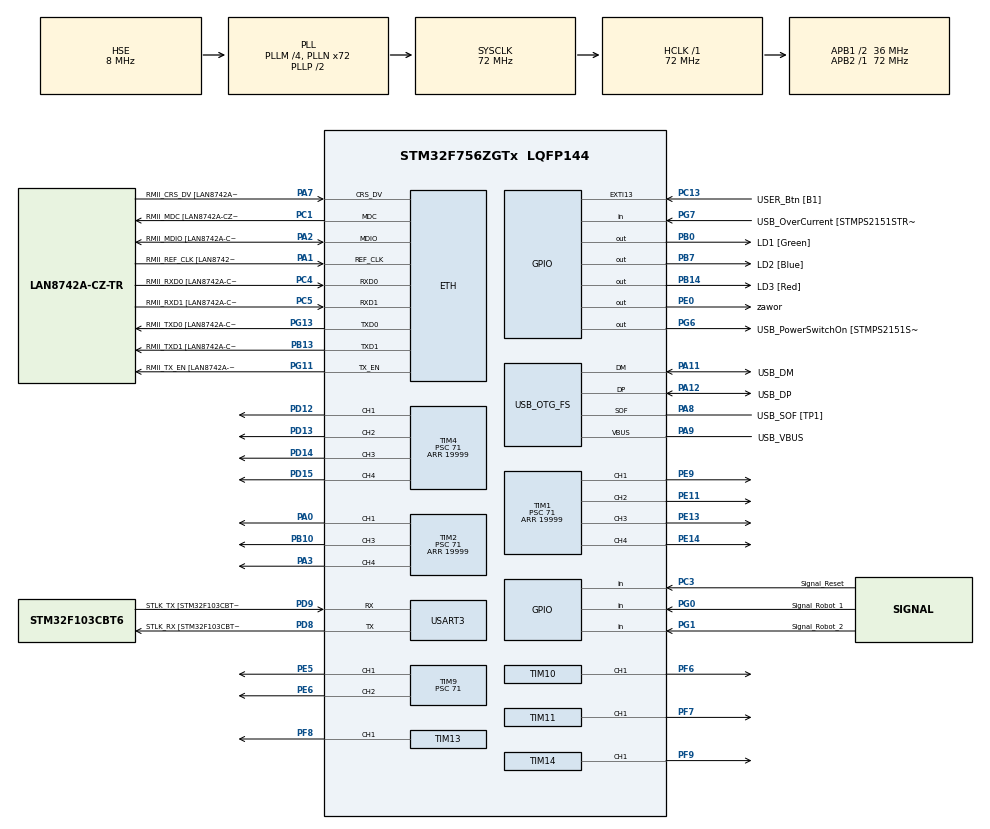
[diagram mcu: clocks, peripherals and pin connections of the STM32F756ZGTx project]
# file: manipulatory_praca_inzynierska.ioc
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ETH.MediaInterface=HAL_ETH_RMII_MODE
ETH.PHY_Name=LAN8742A_PHY_ADDRESS
ETH.PHY_Value=0
ETH.PhyAddress=0
FREERTOS.Tasks01=task_1,24,128,start_task_1,Default,NULL,Dynamic,NULL,NULL;task_2,16,128,start_task_2,Default,NULL,Dynamic,NULL,NULL
FREERTOS.configUSE_NEWLIB_REENTRANT=0
Mcu.Family=STM32F7
Mcu.Name=STM32F756ZGTx
Mcu.Package=LQFP144
NVIC.PriorityGroup=NVIC_PRIORITYGROUP_4
NVIC.TIM6_DAC_IRQn=true\:15\:0\:false\:false\:true\:false\:false\:true\:true
NVIC.TimeBase=TIM6_DAC_IRQn
NVIC.TimeBaseIP=TIM6
PA0/WKUP.Signal=S_TIM2_CH1_ETR
PA1.GPIO_Label=RMII_REF_CLK [LAN8742A-CZ-TR_REFCLK0]
PA1.Mode=RMII
PA1.Signal=ETH_REF_CLK
PA10.GPIO_Label=USB_ID
PA10.Signal=USB_OTG_FS_ID
PA11.GPIO_Label=USB_DM
PA11.Mode=Device_Only
PA11.Signal=USB_OTG_FS_DM
PA12.GPIO_Label=USB_DP
PA12.Mode=Device_Only
PA12.Signal=USB_OTG_FS_DP
PA13.GPIO_Label=TMS
PA13.Mode=Serial_Wire
PA13.Signal=SYS_JTMS-SWDIO
PA14.GPIO_Label=TCK
PA14.Mode=Serial_Wire
PA14.Signal=SYS_JTCK-SWCLK
PA2.GPIO_Label=RMII_MDIO [LAN8742A-CZ-TR_MDIO]
PA2.Mode=RMII
PA2.Signal=ETH_MDIO
PA3.Signal=S_TIM2_CH4
PA7.GPIO_Label=RMII_CRS_DV [LAN8742A-CZ-TR_CRS_DV]
PA7.Mode=RMII
PA7.Signal=ETH_CRS_DV
PA8.GPIO_Label=USB_SOF [TP1]
PA8.Mode=Activate_SOF_FS
PA8.Signal=USB_OTG_FS_SOF
PA9.GPIO_Label=USB_VBUS
PA9.Mode=Activate_VBUS
PA9.Signal=USB_OTG_FS_VBUS
PB0.GPIO_Label=LD1 [Green]
PB0.Signal=GPIO_Output
PB10.Signal=S_TIM2_CH3
PB13.GPIO_Label=RMII_TXD1 [LAN8742A-CZ-TR_TXD1]
PB13.Mode=RMII
PB13.Signal=ETH_TXD1
PB14.GPIO_Label=LD3 [Red]
PB14.Signal=GPIO_Output
PB3.GPIO_Label=SW0
PB3.Signal=SYS_JTDO-SWO
PB7.GPIO_Label=LD2 [Blue]
PB7.Signal=GPIO_Output
PC1.GPIO_Label=RMII_MDC [LAN8742A-CZ-TR_MDC]
PC1.Mode=RMII
PC1.Signal=ETH_MDC
PC13.GPIO_Label=USER_Btn [B1]
PC13.Signal=GPXTI13
PC14/OSC32_IN.Mode=LSE-External-Oscillator
PC14/OSC32_IN.Signal=RCC_OSC32_IN
PC15/OSC32_OUT.Mode=LSE-External-Oscillator
PC15/OSC32_OUT.Signal=RCC_OSC32_OUT
PC3.GPIO_Label=Signal_Reset
PC3.Signal=GPIO_Input
PC4.GPIO_Label=RMII_RXD0 [LAN8742A-CZ-TR_RXD0]
PC4.Mode=RMII
PC4.Signal=ETH_RXD0
PC5.GPIO_Label=RMII_RXD1 [LAN8742A-CZ-TR_RXD1]
PC5.Mode=RMII
PC5.Signal=ETH_RXD1
PD12.Signal=S_TIM4_CH1
PD13.Signal=S_TIM4_CH2
PD14.Signal=S_TIM4_CH3
PD15.Signal=S_TIM4_CH4
PD8.GPIO_Label=STLK_RX [STM32F103CBT6_PA3]
PD8.Mode=Asynchronous
PD8.Signal=USART3_TX
PD9.GPIO_Label=STLK_TX [STM32F103CBT6_PA2]
PD9.Mode=Asynchronous
PD9.Signal=USART3_RX
PE0.GPIO_Label=zawor
PE0.Signal=GPIO_Output
PE11.Signal=S_TIM1_CH2
PE13.Signal=S_TIM1_CH3
PE14.Signal=S_TIM1_CH4
PE5.Signal=S_TIM9_CH1
PE6.Signal=S_TIM9_CH2
PE9.Signal=S_TIM1_CH1
PF6.Signal=S_TIM10_CH1
PF7.Signal=S_TIM11_CH1
PF8.Signal=S_TIM13_CH1
PF9.Signal=S_TIM14_CH1
PG0.GPIO_Label=Signal_Robot_1
PG0.Signal=GPIO_Input
PG1.GPIO_Label=Signal_Robot_2
PG1.Signal=GPIO_Input
PG11.GPIO_Label=RMII_TX_EN [LAN8742A-CZ-TR_TXEN]
PG11.Mode=RMII
PG11.Signal=ETH_TX_EN
PG13.GPIO_Label=RMII_TXD0 [LAN8742A-CZ-TR_TXD0]
PG13.Mode=RMII
PG13.Signal=ETH_TXD0
PG6.GPIO_Label=USB_PowerSwitchOn [STMPS2151STR_EN]
PG6.Signal=GPIO_Output
PG7.GPIO_Label=USB_OverCurrent [STMPS2151STR_FAULT]
PG7.Signal=GPIO_Input
PH0/OSC_IN.GPIO_Label=MCO [STM32F103CBT6_PA8]
PH0/OSC_IN.Mode=HSE-External-Clock-Source
PH0/OSC_IN.Signal=RCC_OSC_IN
PH1/OSC_OUT.Mode=HSE-External-Clock-Source
PH1/OSC_OUT.Signal=RCC_OSC_OUT
ProjectManager.HeapSize=0x200
ProjectManager.StackSize=0x400
ProjectManager.TargetToolchain=STM32CubeIDE
RCC.48MHZClocksFreq_Value=24000000
RCC.AHBFreq_Value=72000000
RCC.APB1CLKDivider=RCC_HCLK_DIV2
RCC.APB1Freq_Value=36000000
RCC.APB1TimFreq_Value=72000000
RCC.APB2Freq_Value=72000000
RCC.APB2TimFreq_Value=72000000
RCC.CortexFreq_Value=72000000
RCC.HCLKFreq_Value=72000000
RCC.HSE_VALUE=8000000
RCC.HSI_VALUE=16000000
RCC.PLLM=4
RCC.PLLMUL=RCC_PLL_MUL9
RCC.PLLN=72
RCC.PLLQ=3
RCC.PRESCALERUSB=RCC_USBCLKSOURCE_PLL_DIV1_5
RCC.SYSCLKFreq_VALUE=72000000
RCC.SYSCLKSource=RCC_SYSCLKSOURCE_PLLCLK
RCC.SYSCLKSourceVirtual=RCC_SYSCLKSOURCE_PLLCLK
RCC.USBFreq_Value=48000000
RCC.VCOOutputFreq_Value=144000000
SH.S_TIM10_CH1.0=TIM10_CH1,PWM Generation1 CH1
SH.S_TIM11_CH1.0=TIM11_CH1,PWM Generation1 CH1
SH.S_TIM13_CH1.0=TIM13_CH1,PWM Generation1 CH1
SH.S_TIM14_CH1.0=TIM14_CH1,PWM Generation1 CH1
SH.S_TIM1_CH1.0=TIM1_CH1,PWM Generation1 CH1
SH.S_TIM1_CH2.0=TIM1_CH2,PWM Generation2 CH2
SH.S_TIM1_CH3.0=TIM1_CH3,PWM Generation3 CH3
SH.S_TIM1_CH4.0=TIM1_CH4,PWM Generation4 CH4
SH.S_TIM2_CH1_ETR.0=TIM2_CH1,PWM Generation1 CH1
SH.S_TIM2_CH3.0=TIM2_CH3,PWM Generation3 CH3
SH.S_TIM2_CH4.0=TIM2_CH4,PWM Generation4 CH4
SH.S_TIM4_CH1.0=TIM4_CH1,PWM Generation1 CH1
SH.S_TIM4_CH2.0=TIM4_CH2,PWM Generation2 CH2
SH.S_TIM4_CH3.0=TIM4_CH3,PWM Generation3 CH3
SH.S_TIM4_CH4.0=TIM4_CH4,PWM Generation4 CH4
SH.S_TIM9_CH1.0=TIM9_CH1,PWM Generation1 CH1
SH.S_TIM9_CH2.0=TIM9_CH2,PWM Generation2 CH2
TIM1.Channel-PWM\ Generation1\ CH1=TIM_CHANNEL_1
TIM1.Channel-PWM\ Generation2\ CH2=TIM_CHANNEL_2
TIM1.Channel-PWM\ Generation3\ CH3=TIM_CHANNEL_3
TIM1.Channel-PWM\ Generation4\ CH4=TIM_CHANNEL_4
TIM1.Period=19999
TIM1.Prescaler=71
TIM1.Pulse-PWM\ Generation1\ CH1=1000
TIM1.Pulse-PWM\ Generation2\ CH2=1000
TIM1.Pulse-PWM\ Generation3\ CH3=1000
TIM1.Pulse-PWM\ Generation4\ CH4=1000
TIM1.RepetitionCounter=0
TIM10.Channel=TIM_CHANNEL_1
TIM10.Period=19999
TIM10.Prescaler=71
TIM10.Pulse=1000
TIM11.Channel=TIM_CHANNEL_1
TIM11.Period=19999
TIM11.Prescaler=71
TIM11.Pulse=1000
TIM13.Channel=TIM_CHANNEL_1
TIM13.Period=19999
TIM13.Prescaler=71
TIM13.Pulse=1000
TIM14.Channel=TIM_CHANNEL_1
TIM14.Period=19999
TIM14.Prescaler=71
TIM14.Pulse=1000
TIM2.Channel-PWM\ Generation1\ CH1=TIM_CHANNEL_1
TIM2.Channel-PWM\ Generation3\ CH3=TIM_CHANNEL_3
TIM2.Channel-PWM\ Generation4\ CH4=TIM_CHANNEL_4
TIM2.Period=19999
TIM2.Prescaler=71
TIM2.Pulse-PWM\ Generation1\ CH1=1000
TIM2.Pulse-PWM\ Generation3\ CH3=1000
TIM2.Pulse-PWM\ Generation4\ CH4=1000
TIM4.Channel-PWM\ Generation1\ CH1=TIM_CHANNEL_1
TIM4.Channel-PWM\ Generation2\ CH2=TIM_CHANNEL_2
TIM4.Channel-PWM\ Generation3\ CH3=TIM_CHANNEL_3
TIM4.Channel-PWM\ Generation4\ CH4=TIM_CHANNEL_4
TIM4.Period=19999
TIM4.Prescaler=71
TIM4.Pulse-PWM\ Generation1\ CH1=1000
TIM4.Pulse-PWM\ Generation2\ CH2=1000
TIM4.Pulse-PWM\ Generation3\ CH3=1000
TIM4.Pulse-PWM\ Generation4\ CH4=1000
TIM9.Channel-PWM\ Generation1\ CH1=TIM_CHANNEL_1
TIM9.Channel-PWM\ Generation2\ CH2=TIM_CHANNEL_2
TIM9.Period=19999
TIM9.Prescaler=71
TIM9.Pulse-PWM\ Generation1\ CH1=1000
TIM9.Pulse-PWM\ Generation2\ CH2=1000
USART3.VirtualMode-Asynchronous=VM_ASYNC
USB_OTG_FS.VirtualMode=Device_Only
VP_FREERTOS_VS_CMSIS_V2.Mode=CMSIS_V2
VP_SYS_VS_tim6.Mode=TIM6
VP_TIM10_VS_ClockSourceINT.Mode=Enable_Timer
VP_TIM11_VS_ClockSourceINT.Mode=Enable_Timer
VP_TIM13_VS_ClockSourceINT.Mode=Enable_Timer
VP_TIM14_VS_ClockSourceINT.Mode=Enable_Timer
board=NUCLEO-F756ZG

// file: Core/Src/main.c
/* USER CODE BEGIN Header */
/**
 ******************************************************************************
 * @file           : main.c
 * @brief          : Main program body
 ******************************************************************************
 * @attention
 *
 * Copyright (c) 2022 STMicroelectronics.
 * All rights reserved.
 *
 * This software is licensed under terms that can be found in the LICENSE file
 * in the root directory of this software component.
 * If no LICENSE file comes with this software, it is provided AS-IS.
 *
 ******************************************************************************
 */
/* USER CODE END Header */
#include "main.h"
#include "string.h"
#include "cmsis_os.h"

/* USER CODE BEGIN Includes */
#include "semphr.h"
#include "FreeRTOS.h"
#include "queue.h"
#include "task.h"
#include <math.h>
#include <stdbool.h>
#include <stdlib.h>
/* USER CODE END Includes */

#if defined ( __ICCARM__ ) /*!< IAR Compiler */
#pragma location=0x2004c000
ETH_DMADescTypeDef  DMARxDscrTab[ETH_RX_DESC_CNT]; /* Ethernet Rx DMA Descriptors */
#pragma location=0x2004c0a0
ETH_DMADescTypeDef  DMATxDscrTab[ETH_TX_DESC_CNT]; /* Ethernet Tx DMA Descriptors */

#elif defined ( __CC_ARM )  /* MDK ARM Compiler */

__attribute__((at(0x2004c000))) ETH_DMADescTypeDef  DMARxDscrTab[ETH_RX_DESC_CNT]; /* Ethernet Rx DMA Descriptors */
__attribute__((at(0x2004c0a0))) ETH_DMADescTypeDef  DMATxDscrTab[ETH_TX_DESC_CNT]; /* Ethernet Tx DMA Descriptors */

#elif defined ( __GNUC__ ) /* GNU Compiler */
ETH_DMADescTypeDef DMARxDscrTab[ETH_RX_DESC_CNT] __attribute__((section(".RxDecripSection"))); /* Ethernet Rx DMA Descriptors */
ETH_DMADescTypeDef DMATxDscrTab[ETH_TX_DESC_CNT] __attribute__((section(".TxDecripSection")));   /* Ethernet Tx DMA Descriptors */

#endif

ETH_TxPacketConfig TxConfig;

ETH_HandleTypeDef heth;

TIM_HandleTypeDef htim1;
TIM_HandleTypeDef htim2;
TIM_HandleTypeDef htim4;
TIM_HandleTypeDef htim9;
TIM_HandleTypeDef htim10;
TIM_HandleTypeDef htim11;
TIM_HandleTypeDef htim13;
TIM_HandleTypeDef htim14;

UART_HandleTypeDef huart3;

PCD_HandleTypeDef hpcd_USB_OTG_FS;

/* Definitions for task_1 */
osThreadId_t task_1Handle;
const osThreadAttr_t task_1_attributes = {
  .name = "task_1",
  .stack_size = 128 * 4,
  .priority = (osPriority_t) osPriorityNormal,
};
/* Definitions for task_2 */
osThreadId_t task_2Handle;
const osThreadAttr_t task_2_attributes = {
  .name = "task_2",
  .stack_size = 128 * 4,
  .priority = (osPriority_t) osPriorityBelowNormal,
};

void SystemClock_Config(void);
static void MX_GPIO_Init(void);
static void MX_ETH_Init(void);
static void MX_USART3_UART_Init(void);
static void MX_USB_OTG_FS_PCD_Init(void);
static void MX_TIM2_Init(void);
static void MX_TIM1_Init(void);
static void MX_TIM4_Init(void);
static void MX_TIM9_Init(void);
static void MX_TIM13_Init(void);
static void MX_TIM14_Init(void);
static void MX_TIM11_Init(void);
static void MX_TIM10_Init(void);
void start_task_1(void *argument);
void start_task_2(void *argument);

/* USER CODE BEGIN 0 */
SemaphoreHandle_t SimpleMutex;

const int grip_open = 115;
const int grip_close = 95;

//================ROBOT I====================
int home_posision[] = {120,130,0,35,100,45,grip_open};
int move_to_part1[] = {34,130,0,35,110,45,grip_open};
int move_to_part2[] = {34,55,23,35,110,45,grip_open};
int close_gripper_next_to_part2[] = {34,55,23,35,110,45,grip_close};
int move_up_with_part[] = {34,60,23,35,110,45,grip_close};
int move_to_drop[] = {120,60,23,35,110,45,grip_close};
int move_down_to_drop[] = {120,57,20,35,110,45,grip_close};
int open_gripper_to_drop[] = {120,57,20,35,110,45,grip_open};
int move_up_without_part[] = {120,100,20,35,110,45,grip_open};

int test1[] = {120,130,0,35,100,45,grip_open};
int test2[] = {120,130,0,35,100,45,grip_close};

//================ROBOT II====================
int home_posision_R2[] = {67,130,10,45,0,0};
int work_posision_R2[] = {67,55,90,45,0,0};
int spray_posision_R2[] = {67,55,90,45,0,180};

//=================LAST STATE===================
int last_state_robot1[] = {120,130,0,35,70,45,grip_open};
int last_state_robot2[] = {69,130,10,45,0,0};

bool reset = false;
void set_position_after_reset(int robot_number)
{
	if(robot_number == 1){
		last_state_robot1[0] = 119;
		last_state_robot1[1] = 130;
		last_state_robot1[2] = 0;
		last_state_robot1[3] = 35;
		last_state_robot1[4] = 100;
		last_state_robot1[5] = 45;
		last_state_robot1[6] = 115;
	}
	if(robot_number == 2){
		last_state_robot2[0] = 70;
		last_state_robot2[1] = 130;
		last_state_robot2[2] = 10;
		last_state_robot2[3] = 35;
		last_state_robot2[4] = 0;
		last_state_robot2[5] = 0;
	}

}
void servo_init(TIM_HandleTypeDef *tim, uint32_t channel)
{
	HAL_TIM_PWM_Start(tim, channel);
}

void servo_set_angle(uint8_t angle,TIM_HandleTypeDef *tim, uint32_t channel)
{
	if(angle < SERVO_MIN_ANGLE)
		angle = SERVO_MIN_ANGLE;
	else if(angle > SERVO_MAX_ANGLE)
		angle = SERVO_MAX_ANGLE;

	uint32_t pwm_duty_us;

	pwm_duty_us = SERVO_MIN_US + (angle * (SERVO_MAX_US - SERVO_MIN_US))/SERVO_MAX_ANGLE;

	__HAL_TIM_SET_COMPARE(tim, channel, pwm_duty_us);
}

int biggestDifference(int last_state[], int angle[], int robotNumber){
	int max = 0;
	int length;
	if (robotNumber == 1){
		length = 7;
	} else if (robotNumber == 2){
		length = 6;
	}
	for(int i = 0; i < length ; i++){
		if(abs(last_state[i]-angle[i]) > max){
			max = abs(last_state[i]-angle[i]);
		}
	}
	return max;
}

bool isHigher(int angle, int lastState){
	return angle > lastState;
}

int changeValue(int angle, int lastState){
	if(isHigher(angle, lastState)){
		lastState+=1;
	}else{
		lastState-=1;
	}
	return lastState;
}

int reverseSecondAxisAngle(int firstAngle){
	return 180 - firstAngle;
}

void moveServo(int angle[], int lastStateRobot[] , int robotNumber){
	int maxDifference = biggestDifference(lastStateRobot, angle, robotNumber);
	for(int i = 0; i < maxDifference; i++){
    reset = HAL_GPIO_ReadPin(Signal_Reset_GPIO_Port, Signal_Reset_Pin);
    if(reset == true){
      i = maxDifference;
    }else{
      if(angle[0] != lastStateRobot[0]){
			lastStateRobot[0] = changeValue(angle[0] , lastStateRobot[0]);
			if(robotNumber == 1){
				servo_set_angle(lastStateRobot[0], &htim1, TIM_CHANNEL_1);
			}else if(robotNumber == 2){
				servo_set_angle(lastStateRobot[0], &htim2, TIM_CHANNEL_1);
			}
		}
		if(angle[1] != lastStateRobot[1]){
			lastStateRobot[1] = changeValue(angle[1] , lastStateRobot[1]);
			if(robotNumber == 1){
				servo_set_angle(lastStateRobot[1], &htim1, TIM_CHANNEL_2);
				servo_set_angle(reverseSecondAxisAngle(lastStateRobot[1]), &htim1, TIM_CHANNEL_3);

			}else if(robotNumber == 2){
				servo_set_angle(lastStateRobot[1], &htim10, TIM_CHANNEL_1);
				servo_set_angle(reverseSecondAxisAngle(lastStateRobot[1]), &htim2, TIM_CHANNEL_3);
			}
		}
		if(angle[2] != lastStateRobot[2]){
			lastStateRobot[2] = changeValue(angle[2] , lastStateRobot[2]);
			if(robotNumber == 1){
				servo_set_angle(lastStateRobot[2], &htim1, TIM_CHANNEL_4);
			}else if(robotNumber == 2){
				servo_set_angle(lastStateRobot[2], &htim9, TIM_CHANNEL_1);
			}
		}
		if(angle[3] != lastStateRobot[3]){
			lastStateRobot[3] = changeValue(angle[3] , lastStateRobot[3]);
			if(robotNumber == 1){
				servo_set_angle(lastStateRobot[3], &htim4, TIM_CHANNEL_1);
			}else if(robotNumber == 2){
				servo_set_angle(lastStateRobot[3],&htim9, TIM_CHANNEL_2);
			}
		}
		if(angle[4] != lastStateRobot[4]){
			lastStateRobot[4] = changeValue(angle[4] , lastStateRobot[4]);
			if(robotNumber == 1){
				servo_set_angle(lastStateRobot[4], &htim4, TIM_CHANNEL_2);
			}else if(robotNumber == 2){
				servo_set_angle(lastStateRobot[4], &htim14, TIM_CHANNEL_1);
			}
		}
		if(angle[5] != lastStateRobot[5]){
			lastStateRobot[5] = changeValue(angle[5] , lastStateRobot[5]);
			if(robotNumber == 1){
				servo_set_angle(lastStateRobot[5], &htim4, TIM_CHANNEL_3);
			}else if(robotNumber == 2){
				servo_set_angle(lastStateRobot[5], &htim13, TIM_CHANNEL_1);
			}
		}
		if(robotNumber == 1 && (angle[6] != lastStateRobot[6])){
					lastStateRobot[6] = changeValue(angle[6] , lastStateRobot[6]);
					servo_set_angle(lastStateRobot[6], &htim4, TIM_CHANNEL_4);
				}
    }
		osDelay(5);
	}
}

void setHomePosition(){
	servo_set_angle(home_posision[0], &htim1, TIM_CHANNEL_1);
	servo_set_angle(home_posision[1],&htim1, TIM_CHANNEL_2);
	servo_set_angle(reverseSecondAxisAngle(home_posision[1]),&htim1, TIM_CHANNEL_3);
	servo_set_angle(home_posision[2], &htim1, TIM_CHANNEL_4);
	servo_set_angle(home_posision[3], &htim4, TIM_CHANNEL_1);
	servo_set_angle(home_posision[4], &htim4, TIM_CHANNEL_2);
	servo_set_angle(home_posision[5], &htim4, TIM_CHANNEL_3);
	servo_set_angle(home_posision[6], &htim4, TIM_CHANNEL_4);
}
void setHomePositionR2(){
	servo_set_angle(home_posision_R2[0],&htim2, TIM_CHANNEL_1);
	servo_set_angle(home_posision_R2[1], &htim10, TIM_CHANNEL_1);
	servo_set_angle(reverseSecondAxisAngle(home_posision_R2[1]), &htim2, TIM_CHANNEL_3);
	servo_set_angle(home_posision_R2[2], &htim9, TIM_CHANNEL_1);
	servo_set_angle(home_posision_R2[3], &htim9, TIM_CHANNEL_2);
	servo_set_angle(home_posision_R2[4], &htim14, TIM_CHANNEL_1);
	servo_set_angle(home_posision_R2[5], &htim13, TIM_CHANNEL_1);
}
void general_cycle_of_work(){
  if(reset == 0) moveServo(move_to_part1, last_state_robot1, 1);
  if(reset == 0) moveServo(move_to_part2, last_state_robot1, 1);
  if(reset == 0) osDelay(200);
  if(reset == 0) moveServo(close_gripper_next_to_part2, last_state_robot1, 1);
  if(reset == 0) osDelay(500);
  if(reset == 0) moveServo(move_up_with_part, last_state_robot1, 1);
  if(reset == 0) moveServo(move_to_drop, last_state_robot1, 1);
  if(reset == 0) moveServo(move_down_to_drop, last_state_robot1, 1);
  if(reset == 0) osDelay(500);
  if(reset == 0) moveServo(open_gripper_to_drop, last_state_robot1, 1);
  if(reset == 0) moveServo(move_up_without_part, last_state_robot1, 1);
  if(reset == 0) moveServo(home_posision, last_state_robot1, 1);
  if(reset == 0) osDelay(300);
  if(reset == 1) {
     setHomePosition();
     set_position_after_reset(1);
  }
}

void general_cycle_of_work_R2(){
	if(reset == 0) moveServo(home_posision_R2, last_state_robot2,2);
	if(reset == 0) moveServo(work_posision_R2, last_state_robot2,2);
	if(reset == 0) osDelay(250);
	if(reset == 0) HAL_GPIO_WritePin(zawor_GPIO_Port, zawor_Pin, 1);
	if(reset == 0) moveServo(spray_posision_R2,last_state_robot2,2);
	if(reset == 0) moveServo(work_posision_R2, last_state_robot2,2);
	if(reset == 0) osDelay(250);
	if(reset == 0) HAL_GPIO_WritePin(zawor_GPIO_Port, zawor_Pin, 0);
	if(reset == 0) moveServo(home_posision_R2, last_state_robot2,2);
	if(reset == 1){
		setHomePositionR2();
		set_position_after_reset(2);
		HAL_GPIO_WritePin(zawor_GPIO_Port, zawor_Pin, 0);
	}
}

void test(){
	moveServo(test1, last_state_robot1, 1);
	osDelay(250);
	moveServo(test2, last_state_robot1, 1);
	osDelay(250);
	moveServo(test1, last_state_robot1, 1);
	osDelay(250);
	moveServo(test2, last_state_robot1, 1);
	osDelay(250);
	moveServo(test1, last_state_robot1, 1);
	osDelay(250);
	moveServo(test2, last_state_robot1, 1);
	osDelay(250);
	moveServo(test1, last_state_robot1, 1);
}

/* USER CODE END 0 */

int main(void)
{

  /* MCU Configuration--------------------------------------------------------*/

  /* Reset of all peripherals, Initializes the Flash interface and the Systick. */
  HAL_Init();

  /* Configure the system clock */
  SystemClock_Config();

  /* Initialize all configured peripherals */
  MX_GPIO_Init();
  MX_ETH_Init();
  MX_USART3_UART_Init();
  MX_USB_OTG_FS_PCD_Init();
  MX_TIM2_Init();
  MX_TIM1_Init();
  MX_TIM4_Init();
  MX_TIM9_Init();
  MX_TIM13_Init();
  MX_TIM14_Init();
  MX_TIM11_Init();
  MX_TIM10_Init();
  /* USER CODE BEGIN 2 */
//	HAL_TIM_PWM_Start(&htim2, TIM_CHANNEL_3);
//	HAL_TIM_PWM_Start(&htim2, TIM_CHANNEL_4);

  //===========ROBOT I - inicjalizacja ===================
  servo_init(&htim1, TIM_CHANNEL_1);
  servo_init(&htim1, TIM_CHANNEL_2);
  servo_init(&htim1, TIM_CHANNEL_3);
  servo_init(&htim1, TIM_CHANNEL_4);
  servo_init(&htim4, TIM_CHANNEL_1);
  servo_init(&htim4, TIM_CHANNEL_2);
  servo_init(&htim4, TIM_CHANNEL_3);
  servo_init(&htim4, TIM_CHANNEL_4);

  //==========ROBOT II - inicjalizacja ======================
  servo_init(&htim10, TIM_CHANNEL_1);
  servo_init(&htim2, TIM_CHANNEL_1);
  servo_init(&htim2, TIM_CHANNEL_3);
  servo_init(&htim9, TIM_CHANNEL_1);
  servo_init(&htim9, TIM_CHANNEL_2);
  servo_init(&htim14, TIM_CHANNEL_1);
  servo_init(&htim13, TIM_CHANNEL_1);

  /* USER CODE END 2 */

  /* Init scheduler */
  osKernelInitialize();

  /* Create the thread(s) */
  /* creation of task_1 */
  task_1Handle = osThreadNew(start_task_1, NULL, &task_1_attributes);

  /* creation of task_2 */
  task_2Handle = osThreadNew(start_task_2, NULL, &task_2_attributes);

  /* Start scheduler */
  osKernelStart();

  /* We should never get here as control is now taken by the scheduler */
  /* Infinite loop */
	while (1)
	{

	}
}

void SystemClock_Config(void)
{
  RCC_OscInitTypeDef RCC_OscInitStruct = {0};
  RCC_ClkInitTypeDef RCC_ClkInitStruct = {0};

  /** Configure LSE Drive Capability
  */
  HAL_PWR_EnableBkUpAccess();

  /** Configure the main internal regulator output voltage
  */
  __HAL_RCC_PWR_CLK_ENABLE();
  __HAL_PWR_VOLTAGESCALING_CONFIG(PWR_REGULATOR_VOLTAGE_SCALE3);

  /** Initializes the RCC Oscillators according to the specified parameters
  * in the RCC_OscInitTypeDef structure.
  */
  RCC_OscInitStruct.OscillatorType = RCC_OSCILLATORTYPE_HSE;
  RCC_OscInitStruct.HSEState = RCC_HSE_BYPASS;
  RCC_OscInitStruct.PLL.PLLState = RCC_PLL_ON;
  RCC_OscInitStruct.PLL.PLLSource = RCC_PLLSOURCE_HSE;
  RCC_OscInitStruct.PLL.PLLM = 4;
  RCC_OscInitStruct.PLL.PLLN = 72;
  RCC_OscInitStruct.PLL.PLLP = RCC_PLLP_DIV2;
  RCC_OscInitStruct.PLL.PLLQ = 3;
  if (HAL_RCC_OscConfig(&RCC_OscInitStruct) != HAL_OK)
  {
    Error_Handler();
  }

  /** Initializes the CPU, AHB and APB buses clocks
  */
  RCC_ClkInitStruct.ClockType = RCC_CLOCKTYPE_HCLK|RCC_CLOCKTYPE_SYSCLK
                              |RCC_CLOCKTYPE_PCLK1|RCC_CLOCKTYPE_PCLK2;
  RCC_ClkInitStruct.SYSCLKSource = RCC_SYSCLKSOURCE_PLLCLK;
  RCC_ClkInitStruct.AHBCLKDivider = RCC_SYSCLK_DIV1;
  RCC_ClkInitStruct.APB1CLKDivider = RCC_HCLK_DIV2;
  RCC_ClkInitStruct.APB2CLKDivider = RCC_HCLK_DIV1;

  if (HAL_RCC_ClockConfig(&RCC_ClkInitStruct, FLASH_LATENCY_2) != HAL_OK)
  {
    Error_Handler();
  }
}

static void MX_ETH_Init(void)
{

   static uint8_t MACAddr[6];

  heth.Instance = ETH;
  MACAddr[0] = 0x00;
  MACAddr[1] = 0x80;
  MACAddr[2] = 0xE1;
  MACAddr[3] = 0x00;
  MACAddr[4] = 0x00;
  MACAddr[5] = 0x00;
  heth.Init.MACAddr = &MACAddr[0];
  heth.Init.MediaInterface = HAL_ETH_RMII_MODE;
  heth.Init.TxDesc = DMATxDscrTab;
  heth.Init.RxDesc = DMARxDscrTab;
  heth.Init.RxBuffLen = 1524;

  if (HAL_ETH_Init(&heth) != HAL_OK)
  {
    Error_Handler();
  }

  memset(&TxConfig, 0 , sizeof(ETH_TxPacketConfig));
  TxConfig.Attributes = ETH_TX_PACKETS_FEATURES_CSUM | ETH_TX_PACKETS_FEATURES_CRCPAD;
  TxConfig.ChecksumCtrl = ETH_CHECKSUM_IPHDR_PAYLOAD_INSERT_PHDR_CALC;
  TxConfig.CRCPadCtrl = ETH_CRC_PAD_INSERT;

}

static void MX_TIM1_Init(void)
{

  TIM_MasterConfigTypeDef sMasterConfig = {0};
  TIM_OC_InitTypeDef sConfigOC = {0};
  TIM_BreakDeadTimeConfigTypeDef sBreakDeadTimeConfig = {0};

  htim1.Instance = TIM1;
  htim1.Init.Prescaler = 71;
  htim1.Init.CounterMode = TIM_COUNTERMODE_UP;
  htim1.Init.Period = 19999;
  htim1.Init.ClockDivision = TIM_CLOCKDIVISION_DIV1;
  htim1.Init.RepetitionCounter = 0;
  htim1.Init.AutoReloadPreload = TIM_AUTORELOAD_PRELOAD_DISABLE;
  if (HAL_TIM_PWM_Init(&htim1) != HAL_OK)
  {
    Error_Handler();
  }
  sMasterConfig.MasterOutputTrigger = TIM_TRGO_RESET;
  sMasterConfig.MasterOutputTrigger2 = TIM_TRGO2_RESET;
  sMasterConfig.MasterSlaveMode = TIM_MASTERSLAVEMODE_DISABLE;
  if (HAL_TIMEx_MasterConfigSynchronization(&htim1, &sMasterConfig) != HAL_OK)
  {
    Error_Handler();
  }
  sConfigOC.OCMode = TIM_OCMODE_PWM1;
  sConfigOC.Pulse = 1000;
  sConfigOC.OCPolarity = TIM_OCPOLARITY_HIGH;
  sConfigOC.OCNPolarity = TIM_OCNPOLARITY_HIGH;
  sConfigOC.OCFastMode = TIM_OCFAST_DISABLE;
  sConfigOC.OCIdleState = TIM_OCIDLESTATE_RESET;
  sConfigOC.OCNIdleState = TIM_OCNIDLESTATE_RESET;
  if (HAL_TIM_PWM_ConfigChannel(&htim1, &sConfigOC, TIM_CHANNEL_1) != HAL_OK)
  {
    Error_Handler();
  }
  if (HAL_TIM_PWM_ConfigChannel(&htim1, &sConfigOC, TIM_CHANNEL_2) != HAL_OK)
  {
    Error_Handler();
  }
  if (HAL_TIM_PWM_ConfigChannel(&htim1, &sConfigOC, TIM_CHANNEL_3) != HAL_OK)
  {
    Error_Handler();
  }
  if (HAL_TIM_PWM_ConfigChannel(&htim1, &sConfigOC, TIM_CHANNEL_4) != HAL_OK)
  {
    Error_Handler();
  }
  sBreakDeadTimeConfig.OffStateRunMode = TIM_OSSR_DISABLE;
  sBreakDeadTimeConfig.OffStateIDLEMode = TIM_OSSI_DISABLE;
  sBreakDeadTimeConfig.LockLevel = TIM_LOCKLEVEL_OFF;
  sBreakDeadTimeConfig.DeadTime = 0;
  sBreakDeadTimeConfig.BreakState = TIM_BREAK_DISABLE;
  sBreakDeadTimeConfig.BreakPolarity = TIM_BREAKPOLARITY_HIGH;
  sBreakDeadTimeConfig.BreakFilter = 0;
  sBreakDeadTimeConfig.Break2State = TIM_BREAK2_DISABLE;
  sBreakDeadTimeConfig.Break2Polarity = TIM_BREAK2POLARITY_HIGH;
  sBreakDeadTimeConfig.Break2Filter = 0;
  sBreakDeadTimeConfig.AutomaticOutput = TIM_AUTOMATICOUTPUT_DISABLE;
  if (HAL_TIMEx_ConfigBreakDeadTime(&htim1, &sBreakDeadTimeConfig) != HAL_OK)
  {
    Error_Handler();
  }
  HAL_TIM_MspPostInit(&htim1);

}

static void MX_TIM2_Init(void)
{

  TIM_MasterConfigTypeDef sMasterConfig = {0};
  TIM_OC_InitTypeDef sConfigOC = {0};

  htim2.Instance = TIM2;
  htim2.Init.Prescaler = 71;
  htim2.Init.CounterMode = TIM_COUNTERMODE_UP;
  htim2.Init.Period = 19999;
  htim2.Init.ClockDivision = TIM_CLOCKDIVISION_DIV1;
  htim2.Init.AutoReloadPreload = TIM_AUTORELOAD_PRELOAD_DISABLE;
  if (HAL_TIM_PWM_Init(&htim2) != HAL_OK)
  {
    Error_Handler();
  }
  sMasterConfig.MasterOutputTrigger = TIM_TRGO_RESET;
  sMasterConfig.MasterSlaveMode = TIM_MASTERSLAVEMODE_DISABLE;
  if (HAL_TIMEx_MasterConfigSynchronization(&htim2, &sMasterConfig) != HAL_OK)
  {
    Error_Handler();
  }
  sConfigOC.OCMode = TIM_OCMODE_PWM1;
  sConfigOC.Pulse = 1000;
  sConfigOC.OCPolarity = TIM_OCPOLARITY_HIGH;
  sConfigOC.OCFastMode = TIM_OCFAST_DISABLE;
  if (HAL_TIM_PWM_ConfigChannel(&htim2, &sConfigOC, TIM_CHANNEL_1) != HAL_OK)
  {
    Error_Handler();
  }
  if (HAL_TIM_PWM_ConfigChannel(&htim2, &sConfigOC, TIM_CHANNEL_3) != HAL_OK)
  {
    Error_Handler();
  }
  if (HAL_TIM_PWM_ConfigChannel(&htim2, &sConfigOC, TIM_CHANNEL_4) != HAL_OK)
  {
    Error_Handler();
  }
  HAL_TIM_MspPostInit(&htim2);

}

static void MX_TIM4_Init(void)
{

  TIM_MasterConfigTypeDef sMasterConfig = {0};
  TIM_OC_InitTypeDef sConfigOC = {0};

  htim4.Instance = TIM4;
  htim4.Init.Prescaler = 71;
  htim4.Init.CounterMode = TIM_COUNTERMODE_UP;
  htim4.Init.Period = 19999;
  htim4.Init.ClockDivision = TIM_CLOCKDIVISION_DIV1;
  htim4.Init.AutoReloadPreload = TIM_AUTORELOAD_PRELOAD_DISABLE;
  if (HAL_TIM_PWM_Init(&htim4) != HAL_OK)
  {
    Error_Handler();
  }
  sMasterConfig.MasterOutputTrigger = TIM_TRGO_RESET;
  sMasterConfig.MasterSlaveMode = TIM_MASTERSLAVEMODE_DISABLE;
  if (HAL_TIMEx_MasterConfigSynchronization(&htim4, &sMasterConfig) != HAL_OK)
  {
    Error_Handler();
  }
  sConfigOC.OCMode = TIM_OCMODE_PWM1;
  sConfigOC.Pulse = 1000;
  sConfigOC.OCPolarity = TIM_OCPOLARITY_HIGH;
  sConfigOC.OCFastMode = TIM_OCFAST_DISABLE;
  if (HAL_TIM_PWM_ConfigChannel(&htim4, &sConfigOC, TIM_CHANNEL_1) != HAL_OK)
  {
    Error_Handler();
  }
  if (HAL_TIM_PWM_ConfigChannel(&htim4, &sConfigOC, TIM_CHANNEL_2) != HAL_OK)
  {
    Error_Handler();
  }
  if (HAL_TIM_PWM_ConfigChannel(&htim4, &sConfigOC, TIM_CHANNEL_3) != HAL_OK)
  {
    Error_Handler();
  }
  if (HAL_TIM_PWM_ConfigChannel(&htim4, &sConfigOC, TIM_CHANNEL_4) != HAL_OK)
  {
    Error_Handler();
  }
  HAL_TIM_MspPostInit(&htim4);

}

static void MX_TIM9_Init(void)
{

  TIM_OC_InitTypeDef sConfigOC = {0};

  htim9.Instance = TIM9;
  htim9.Init.Prescaler = 71;
  htim9.Init.CounterMode = TIM_COUNTERMODE_UP;
  htim9.Init.Period = 19999;
  htim9.Init.ClockDivision = TIM_CLOCKDIVISION_DIV1;
  htim9.Init.AutoReloadPreload = TIM_AUTORELOAD_PRELOAD_DISABLE;
  if (HAL_TIM_PWM_Init(&htim9) != HAL_OK)
  {
    Error_Handler();
  }
  sConfigOC.OCMode = TIM_OCMODE_PWM1;
  sConfigOC.Pulse = 1000;
  sConfigOC.OCPolarity = TIM_OCPOLARITY_HIGH;
  sConfigOC.OCFastMode = TIM_OCFAST_DISABLE;
  if (HAL_TIM_PWM_ConfigChannel(&htim9, &sConfigOC, TIM_CHANNEL_1) != HAL_OK)
  {
    Error_Handler();
  }
  if (HAL_TIM_PWM_ConfigChannel(&htim9, &sConfigOC, TIM_CHANNEL_2) != HAL_OK)
  {
    Error_Handler();
  }
  HAL_TIM_MspPostInit(&htim9);

}

static void MX_TIM10_Init(void)
{

  TIM_OC_InitTypeDef sConfigOC = {0};

  htim10.Instance = TIM10;
  htim10.Init.Prescaler = 71;
  htim10.Init.CounterMode = TIM_COUNTERMODE_UP;
  htim10.Init.Period = 19999;
  htim10.Init.ClockDivision = TIM_CLOCKDIVISION_DIV1;
  htim10.Init.AutoReloadPreload = TIM_AUTORELOAD_PRELOAD_DISABLE;
  if (HAL_TIM_Base_Init(&htim10) != HAL_OK)
  {
    Error_Handler();
  }
  if (HAL_TIM_PWM_Init(&htim10) != HAL_OK)
  {
    Error_Handler();
  }
  sConfigOC.OCMode = TIM_OCMODE_PWM1;
  sConfigOC.Pulse = 1000;
  sConfigOC.OCPolarity = TIM_OCPOLARITY_HIGH;
  sConfigOC.OCFastMode = TIM_OCFAST_DISABLE;
  if (HAL_TIM_PWM_ConfigChannel(&htim10, &sConfigOC, TIM_CHANNEL_1) != HAL_OK)
  {
    Error_Handler();
  }
  HAL_TIM_MspPostInit(&htim10);

}

static void MX_TIM11_Init(void)
{

  TIM_OC_InitTypeDef sConfigOC = {0};

  htim11.Instance = TIM11;
  htim11.Init.Prescaler = 71;
  htim11.Init.CounterMode = TIM_COUNTERMODE_UP;
  htim11.Init.Period = 19999;
  htim11.Init.ClockDivision = TIM_CLOCKDIVISION_DIV1;
  htim11.Init.AutoReloadPreload = TIM_AUTORELOAD_PRELOAD_DISABLE;
  if (HAL_TIM_Base_Init(&htim11) != HAL_OK)
  {
    Error_Handler();
  }
  if (HAL_TIM_PWM_Init(&htim11) != HAL_OK)
  {
    Error_Handler();
  }
  sConfigOC.OCMode = TIM_OCMODE_PWM1;
  sConfigOC.Pulse = 1000;
  sConfigOC.OCPolarity = TIM_OCPOLARITY_HIGH;
  sConfigOC.OCFastMode = TIM_OCFAST_DISABLE;
  if (HAL_TIM_PWM_ConfigChannel(&htim11, &sConfigOC, TIM_CHANNEL_1) != HAL_OK)
  {
    Error_Handler();
  }
  HAL_TIM_MspPostInit(&htim11);

}

static void MX_TIM13_Init(void)
{

  TIM_OC_InitTypeDef sConfigOC = {0};

  htim13.Instance = TIM13;
  htim13.Init.Prescaler = 71;
  htim13.Init.CounterMode = TIM_COUNTERMODE_UP;
  htim13.Init.Period = 19999;
  htim13.Init.ClockDivision = TIM_CLOCKDIVISION_DIV1;
  htim13.Init.AutoReloadPreload = TIM_AUTORELOAD_PRELOAD_DISABLE;
  if (HAL_TIM_Base_Init(&htim13) != HAL_OK)
  {
    Error_Handler();
  }
  if (HAL_TIM_PWM_Init(&htim13) != HAL_OK)
  {
    Error_Handler();
  }
  sConfigOC.OCMode = TIM_OCMODE_PWM1;
  sConfigOC.Pulse = 1000;
  sConfigOC.OCPolarity = TIM_OCPOLARITY_HIGH;
  sConfigOC.OCFastMode = TIM_OCFAST_DISABLE;
  if (HAL_TIM_PWM_ConfigChannel(&htim13, &sConfigOC, TIM_CHANNEL_1) != HAL_OK)
  {
    Error_Handler();
  }
  HAL_TIM_MspPostInit(&htim13);

}

static void MX_TIM14_Init(void)
{

  TIM_OC_InitTypeDef sConfigOC = {0};

  htim14.Instance = TIM14;
  htim14.Init.Prescaler = 71;
  htim14.Init.CounterMode = TIM_COUNTERMODE_UP;
  htim14.Init.Period = 19999;
  htim14.Init.ClockDivision = TIM_CLOCKDIVISION_DIV1;
  htim14.Init.AutoReloadPreload = TIM_AUTORELOAD_PRELOAD_DISABLE;
  if (HAL_TIM_Base_Init(&htim14) != HAL_OK)
  {
    Error_Handler();
  }
  if (HAL_TIM_PWM_Init(&htim14) != HAL_OK)
  {
    Error_Handler();
  }
  sConfigOC.OCMode = TIM_OCMODE_PWM1;
  sConfigOC.Pulse = 1000;
  sConfigOC.OCPolarity = TIM_OCPOLARITY_HIGH;
  sConfigOC.OCFastMode = TIM_OCFAST_DISABLE;
  if (HAL_TIM_PWM_ConfigChannel(&htim14, &sConfigOC, TIM_CHANNEL_1) != HAL_OK)
  {
    Error_Handler();
  }
  HAL_TIM_MspPostInit(&htim14);

}

static void MX_USART3_UART_Init(void)
{

  huart3.Instance = USART3;
  huart3.Init.BaudRate = 115200;
  huart3.Init.WordLength = UART_WORDLENGTH_8B;
  huart3.Init.StopBits = UART_STOPBITS_1;
  huart3.Init.Parity = UART_PARITY_NONE;
  huart3.Init.Mode = UART_MODE_TX_RX;
  huart3.Init.HwFlowCtl = UART_HWCONTROL_NONE;
  huart3.Init.OverSampling = UART_OVERSAMPLING_16;
  huart3.Init.OneBitSampling = UART_ONE_BIT_SAMPLE_DISABLE;
  huart3.AdvancedInit.AdvFeatureInit = UART_ADVFEATURE_NO_INIT;
  if (HAL_UART_Init(&huart3) != HAL_OK)
  {
    Error_Handler();
  }

}

static void MX_USB_OTG_FS_PCD_Init(void)
{

  hpcd_USB_OTG_FS.Instance = USB_OTG_FS;
  hpcd_USB_OTG_FS.Init.dev_endpoints = 6;
  hpcd_USB_OTG_FS.Init.speed = PCD_SPEED_FULL;
  hpcd_USB_OTG_FS.Init.dma_enable = DISABLE;
  hpcd_USB_OTG_FS.Init.phy_itface = PCD_PHY_EMBEDDED;
  hpcd_USB_OTG_FS.Init.Sof_enable = ENABLE;
  hpcd_USB_OTG_FS.Init.low_power_enable = DISABLE;
  hpcd_USB_OTG_FS.Init.lpm_enable = DISABLE;
  hpcd_USB_OTG_FS.Init.vbus_sensing_enable = ENABLE;
  hpcd_USB_OTG_FS.Init.use_dedicated_ep1 = DISABLE;
  if (HAL_PCD_Init(&hpcd_USB_OTG_FS) != HAL_OK)
  {
    Error_Handler();
  }

}

static void MX_GPIO_Init(void)
{
  GPIO_InitTypeDef GPIO_InitStruct = {0};

  /* GPIO Ports Clock Enable */
  __HAL_RCC_GPIOE_CLK_ENABLE();
  __HAL_RCC_GPIOC_CLK_ENABLE();
  __HAL_RCC_GPIOF_CLK_ENABLE();
  __HAL_RCC_GPIOH_CLK_ENABLE();
  __HAL_RCC_GPIOA_CLK_ENABLE();
  __HAL_RCC_GPIOB_CLK_ENABLE();
  __HAL_RCC_GPIOG_CLK_ENABLE();
  __HAL_RCC_GPIOD_CLK_ENABLE();

  /*Configure GPIO pin Output Level */
  HAL_GPIO_WritePin(GPIOB, LD1_Pin|LD3_Pin|LD2_Pin, GPIO_PIN_RESET);

  /*Configure GPIO pin Output Level */
  HAL_GPIO_WritePin(USB_PowerSwitchOn_GPIO_Port, USB_PowerSwitchOn_Pin, GPIO_PIN_RESET);

  /*Configure GPIO pin Output Level */
  HAL_GPIO_WritePin(zawor_GPIO_Port, zawor_Pin, GPIO_PIN_RESET);

  /*Configure GPIO pin : USER_Btn_Pin */
  GPIO_InitStruct.Pin = USER_Btn_Pin;
  GPIO_InitStruct.Mode = GPIO_MODE_IT_RISING;
  GPIO_InitStruct.Pull = GPIO_NOPULL;
  HAL_GPIO_Init(USER_Btn_GPIO_Port, &GPIO_InitStruct);

  /*Configure GPIO pin : Signal_Reset_Pin */
  GPIO_InitStruct.Pin = Signal_Reset_Pin;
  GPIO_InitStruct.Mode = GPIO_MODE_INPUT;
  GPIO_InitStruct.Pull = GPIO_NOPULL;
  HAL_GPIO_Init(Signal_Reset_GPIO_Port, &GPIO_InitStruct);

  /*Configure GPIO pins : LD1_Pin LD3_Pin LD2_Pin */
  GPIO_InitStruct.Pin = LD1_Pin|LD3_Pin|LD2_Pin;
  GPIO_InitStruct.Mode = GPIO_MODE_OUTPUT_PP;
  GPIO_InitStruct.Pull = GPIO_NOPULL;
  GPIO_InitStruct.Speed = GPIO_SPEED_FREQ_LOW;
  HAL_GPIO_Init(GPIOB, &GPIO_InitStruct);

  /*Configure GPIO pins : Signal_Robot_1_Pin Signal_Robot_2_Pin USB_OverCurrent_Pin */
  GPIO_InitStruct.Pin = Signal_Robot_1_Pin|Signal_Robot_2_Pin|USB_OverCurrent_Pin;
  GPIO_InitStruct.Mode = GPIO_MODE_INPUT;
  GPIO_InitStruct.Pull = GPIO_NOPULL;
  HAL_GPIO_Init(GPIOG, &GPIO_InitStruct);

  /*Configure GPIO pin : USB_PowerSwitchOn_Pin */
  GPIO_InitStruct.Pin = USB_PowerSwitchOn_Pin;
  GPIO_InitStruct.Mode = GPIO_MODE_OUTPUT_PP;
  GPIO_InitStruct.Pull = GPIO_NOPULL;
  GPIO_InitStruct.Speed = GPIO_SPEED_FREQ_LOW;
  HAL_GPIO_Init(USB_PowerSwitchOn_GPIO_Port, &GPIO_InitStruct);

  /*Configure GPIO pin : zawor_Pin */
  GPIO_InitStruct.Pin = zawor_Pin;
  GPIO_InitStruct.Mode = GPIO_MODE_OUTPUT_PP;
  GPIO_InitStruct.Pull = GPIO_NOPULL;
  GPIO_InitStruct.Speed = GPIO_SPEED_FREQ_LOW;
  HAL_GPIO_Init(zawor_GPIO_Port, &GPIO_InitStruct);

}

void start_task_1(void *argument)
{
  /* USER CODE BEGIN 5 */
	setHomePosition();
	test();
	/* Infinite loop */
	for(;;)
	{
	if(HAL_GPIO_ReadPin(Signal_Robot_1_GPIO_Port, Signal_Robot_1_Pin)){
	  reset = false;
      general_cycle_of_work();
	}

    if(HAL_GPIO_ReadPin(Signal_Reset_GPIO_Port, Signal_Reset_Pin)){
      reset = true;
      setHomePosition();
    }

		osDelay(100);
	}
	osThreadTerminate(NULL);
  /* USER CODE END 5 */
}

void start_task_2(void *argument)
{
  /* USER CODE BEGIN start_task_2 */
	setHomePositionR2();
	/* Infinite loop */
	for(;;)
	{

		if(HAL_GPIO_ReadPin(Signal_Robot_2_GPIO_Port, Signal_Robot_2_Pin)){
			reset = false;
			general_cycle_of_work_R2();
		}
	    if(HAL_GPIO_ReadPin(Signal_Reset_GPIO_Port, Signal_Reset_Pin)){
	      reset = true;
	      setHomePositionR2();
	    }
		osDelay(100);

	}
	osThreadTerminate(NULL);
  /* USER CODE END start_task_2 */
}

void HAL_TIM_PeriodElapsedCallback(TIM_HandleTypeDef *htim)
{
  if (htim->Instance == TIM6) {
    HAL_IncTick();
  }
}

void Error_Handler(void)
{
	__disable_irq();
	while (1)
	{
	}
}
